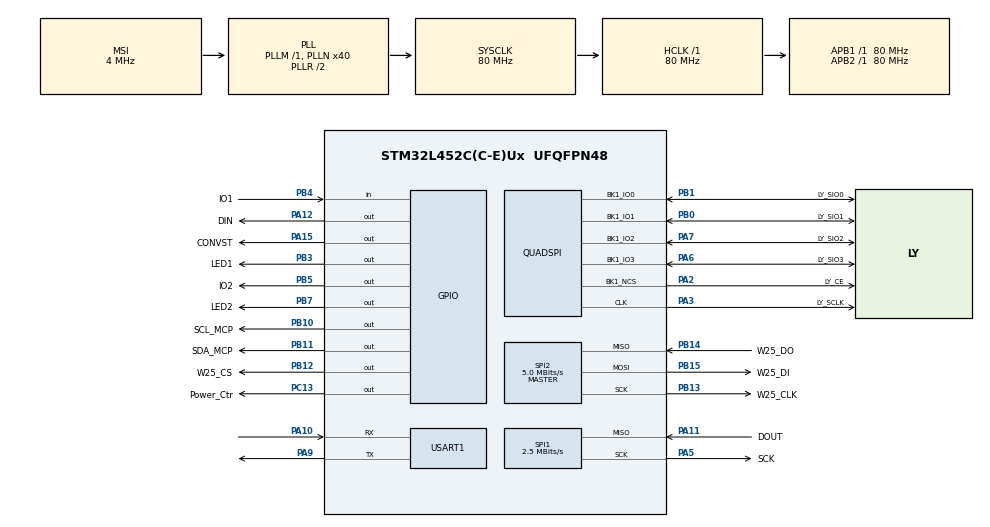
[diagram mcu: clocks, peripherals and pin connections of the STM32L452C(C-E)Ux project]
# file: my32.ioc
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Mcu.Family=STM32L4
Mcu.Name=STM32L452C(C-E)Ux
Mcu.Package=UFQFPN48
NVIC.PriorityGroup=NVIC_PRIORITYGROUP_4
NVIC.QUADSPI_IRQn=true\:0\:0\:false\:false\:true\:true\:true\:true
NVIC.TIM2_IRQn=true\:0\:0\:false\:false\:true\:true\:true\:true
NVIC.TIM3_IRQn=true\:0\:0\:false\:false\:true\:true\:true\:true
NVIC.USART1_IRQn=true\:0\:0\:false\:false\:true\:true\:true\:true
PA10.Mode=Asynchronous
PA10.Signal=USART1_RX
PA11.GPIO_Label=DOUT
PA11.GPIO_PuPd=GPIO_PULLUP
PA11.Mode=RX_Only_Simplex_Unidirect_Master
PA11.Signal=SPI1_MISO
PA12.GPIO_Label=DIN
PA12.GPIO_PuPd=GPIO_PULLUP
PA12.GPIO_Speed=GPIO_SPEED_FREQ_HIGH
PA12.Signal=GPIO_Output
PA15\ (JTDI).GPIO_Label=CONVST
PA15\ (JTDI).GPIO_PuPd=GPIO_PULLUP
PA15\ (JTDI).GPIO_Speed=GPIO_SPEED_FREQ_HIGH
PA15\ (JTDI).Signal=GPIO_Output
PA2.GPIO_Label=LY_CE
PA2.GPIO_Speed=GPIO_SPEED_FREQ_VERY_HIGH
PA2.Mode=Single Bank 1
PA2.Signal=QUADSPI_BK1_NCS
PA3.GPIO_Label=LY_SCLK
PA3.GPIO_Speed=GPIO_SPEED_FREQ_VERY_HIGH
PA3.Mode=Single Bank 1
PA3.Signal=QUADSPI_CLK
PA5.GPIO_Label=SCK
PA5.GPIO_PuPd=GPIO_PULLUP
PA5.Mode=RX_Only_Simplex_Unidirect_Master
PA5.Signal=SPI1_SCK
PA6.GPIO_Label=LY_SIO3
PA6.GPIO_Speed=GPIO_SPEED_FREQ_VERY_HIGH
PA6.Mode=Single Bank 1
PA6.Signal=QUADSPI_BK1_IO3
PA7.GPIO_Label=LY_SIO2
PA7.GPIO_Speed=GPIO_SPEED_FREQ_VERY_HIGH
PA7.Mode=Single Bank 1
PA7.Signal=QUADSPI_BK1_IO2
PA9.Mode=Asynchronous
PA9.Signal=USART1_TX
PB0.GPIO_Label=LY_SIO1
PB0.GPIO_Speed=GPIO_SPEED_FREQ_VERY_HIGH
PB0.Mode=Single Bank 1
PB0.Signal=QUADSPI_BK1_IO1
PB1.GPIO_Label=LY_SIO0
PB1.GPIO_Speed=GPIO_SPEED_FREQ_VERY_HIGH
PB1.Mode=Single Bank 1
PB1.Signal=QUADSPI_BK1_IO0
PB10.GPIO_Label=SCL_MCP
PB10.GPIO_PuPd=GPIO_PULLUP
PB10.GPIO_Speed=GPIO_SPEED_FREQ_HIGH
PB10.Signal=GPIO_Output
PB11.GPIO_Label=SDA_MCP
PB11.GPIO_PuPd=GPIO_PULLUP
PB11.GPIO_Speed=GPIO_SPEED_FREQ_HIGH
PB11.Signal=GPIO_Output
PB12.GPIO_Label=W25_CS
PB12.GPIO_PuPd=GPIO_PULLUP
PB12.GPIO_Speed=GPIO_SPEED_FREQ_HIGH
PB12.Signal=GPIO_Output
PB13.GPIO_Label=W25_CLK
PB13.Mode=Full_Duplex_Master
PB13.Signal=SPI2_SCK
PB14.GPIO_Label=W25_DO
PB14.Mode=Full_Duplex_Master
PB14.Signal=SPI2_MISO
PB15.GPIO_Label=W25_DI
PB15.Mode=Full_Duplex_Master
PB15.Signal=SPI2_MOSI
PB3\ (JTDO/TRACESWO).GPIO_Label=LED1
PB3\ (JTDO/TRACESWO).Signal=GPIO_Output
PB4\ (NJTRST).GPIO_Label=IO1
PB4\ (NJTRST).Signal=GPIO_Input
PB5.GPIO_Label=IO2
PB5.GPIO_Speed=GPIO_SPEED_FREQ_MEDIUM
PB5.Signal=GPIO_Output
PB7.GPIO_Label=LED2
PB7.Signal=GPIO_Output
PC13.GPIO_Label=Power_Ctr
PC13.Signal=GPIO_Output
ProjectManager.HeapSize=0x200
ProjectManager.StackSize=0x400
ProjectManager.TargetToolchain=MDK-ARM V5.32
QUADSPI.ChipSelectHighTime=QSPI_CS_HIGH_TIME_3_CYCLE
QUADSPI.ClockPrescaler=1
QUADSPI.FifoThreshold=4
QUADSPI.FlashSize=0x1f
QUADSPI.SampleShifting=QSPI_SAMPLE_SHIFTING_HALFCYCLE
RCC.ADCFreq_Value=16000000
RCC.AHBFreq_Value=80000000
RCC.APB1Freq_Value=80000000
RCC.APB1TimFreq_Value=80000000
RCC.APB2Freq_Value=80000000
RCC.APB2TimFreq_Value=80000000
RCC.CortexFreq_Value=80000000
RCC.HCLKFreq_Value=80000000
RCC.HSE_VALUE=8000000
RCC.HSI48_VALUE=48000000
RCC.HSI_VALUE=16000000
RCC.LSE_VALUE=32768
RCC.MSI_VALUE=4000000
RCC.PLLN=40
RCC.SYSCLKFreq_VALUE=80000000
RCC.SYSCLKSource=RCC_SYSCLKSOURCE_PLLCLK
RCC.USBFreq_Value=16000000
RCC.VCOOutputFreq_Value=160000000
SPI1.BaudRatePrescaler=SPI_BAUDRATEPRESCALER_32
SPI1.CalculateBaudRate=2.5 MBits/s
SPI1.DataSize=SPI_DATASIZE_8BIT
SPI1.Direction=SPI_DIRECTION_2LINES_RXONLY
SPI1.Mode=SPI_MODE_MASTER
SPI1.VirtualType=VM_MASTER
SPI2.BaudRatePrescaler=SPI_BAUDRATEPRESCALER_16
SPI2.CalculateBaudRate=5.0 MBits/s
SPI2.DataSize=SPI_DATASIZE_8BIT
SPI2.Direction=SPI_DIRECTION_2LINES
SPI2.Mode=SPI_MODE_MASTER
SPI2.NSSPMode=SPI_NSS_PULSE_DISABLE
SPI2.VirtualType=VM_MASTER
TIM2.AutoReloadPreload=TIM_AUTORELOAD_PRELOAD_ENABLE
TIM2.Period=7999
TIM2.Prescaler=0
TIM3.AutoReloadPreload=TIM_AUTORELOAD_PRELOAD_ENABLE
TIM3.Period=39999
USART1.VirtualMode-Asynchronous=VM_ASYNC
VP_TIM2_VS_ClockSourceINT.Mode=Internal
VP_TIM3_VS_ClockSourceINT.Mode=Internal
board=custom

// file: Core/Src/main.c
/* USER CODE BEGIN Header */
/**
  ******************************************************************************
  * @file           : main.c
  * @brief          : Main program body
  ******************************************************************************
  * @attention
  *
  * Copyright (c) 2024 STMicroelectronics.
  * All rights reserved.
  *
  * This software is licensed under terms that can be found in the LICENSE file
  * in the root directory of this software component.
  * If no LICENSE file comes with this software, it is provided AS-IS.
  *
  ******************************************************************************
  */
/* USER CODE END Header */
#include "main.h"

QSPI_HandleTypeDef hqspi;

SPI_HandleTypeDef hspi1;
SPI_HandleTypeDef hspi2;

TIM_HandleTypeDef htim2;
TIM_HandleTypeDef htim3;

UART_HandleTypeDef huart1;

/* USER CODE BEGIN PV */
uint8_t id2[8] = {0}; // 用于存储读取到的 JEDEC ID
uint8_t calistatus = 0;//采样状态
/* USER CODE END PV */

void SystemClock_Config(void);
static void MX_GPIO_Init(void);
static void MX_SPI1_Init(void);
static void MX_TIM2_Init(void);
static void MX_SPI2_Init(void);
static void MX_QUADSPI_Init(void);
static void MX_USART1_UART_Init(void);
static void MX_TIM3_Init(void);
/* USER CODE BEGIN PFP */
void Read_ADC_Sample(void);
/* USER CODE END PFP */

/* USER CODE BEGIN 0 */
extern uint32_t k;
extern uint8_t zerobuf[100000];
/* USER CODE END 0 */

int main(void)
{

  /* MCU Configuration--------------------------------------------------------*/

  /* Reset of all peripherals, Initializes the Flash interface and the Systick. */
  HAL_Init();

  /* Configure the system clock */
  SystemClock_Config();

  /* Initialize all configured peripherals */
  MX_GPIO_Init();
  MX_SPI1_Init();
  MX_TIM2_Init();
  MX_SPI2_Init();
  MX_QUADSPI_Init();
  MX_USART1_UART_Init();
  MX_TIM3_Init();
  /* USER CODE BEGIN 2 */
  //HAL_GPIO_WritePin(LED1_GPIO_Port, LED1_Pin, GPIO_PIN_SET); 	//红灯亮
  HAL_GPIO_WritePin(LED2_GPIO_Port, LED2_Pin, GPIO_PIN_SET); 	//蓝灯亮
  HAL_GPIO_WritePin(Power_Ctr_GPIO_Port, Power_Ctr_Pin, GPIO_PIN_SET); 	//电源开

  MCP4017_SetResistance(110);//1~127

  ads8867Init();

//  W25Qxx_Read_ID();
//  W25Qxx_Write_Read_Check(0*4096);//测试通过

//	QSPI_ReadID(&hqspi,id2);
//	LY68_Write_Read_Check();
	QSPI_WriteEnable(&hqspi);
	LY68L6400_EnableMemoryMappedMode();//地址映射

	calistatus = 1;//上电时没有采样

	HAL_TIM_Base_Start_IT(&htim3);//串口定时器
  /* USER CODE END 2 */

  /* Infinite loop */
  while (1)
  {

    /* USER CODE BEGIN 3 */
	  uart1cmddriver();//串口命令执行

  }
  /* USER CODE END 3 */
}

void SystemClock_Config(void)
{
  RCC_OscInitTypeDef RCC_OscInitStruct = {0};
  RCC_ClkInitTypeDef RCC_ClkInitStruct = {0};

  /** Configure the main internal regulator output voltage
  */
  if (HAL_PWREx_ControlVoltageScaling(PWR_REGULATOR_VOLTAGE_SCALE1) != HAL_OK)
  {
    Error_Handler();
  }

  /** Initializes the RCC Oscillators according to the specified parameters
  * in the RCC_OscInitTypeDef structure.
  */
  RCC_OscInitStruct.OscillatorType = RCC_OSCILLATORTYPE_MSI;
  RCC_OscInitStruct.MSIState = RCC_MSI_ON;
  RCC_OscInitStruct.MSICalibrationValue = 0;
  RCC_OscInitStruct.MSIClockRange = RCC_MSIRANGE_6;
  RCC_OscInitStruct.PLL.PLLState = RCC_PLL_ON;
  RCC_OscInitStruct.PLL.PLLSource = RCC_PLLSOURCE_MSI;
  RCC_OscInitStruct.PLL.PLLM = 1;
  RCC_OscInitStruct.PLL.PLLN = 40;
  RCC_OscInitStruct.PLL.PLLP = RCC_PLLP_DIV7;
  RCC_OscInitStruct.PLL.PLLQ = RCC_PLLQ_DIV2;
  RCC_OscInitStruct.PLL.PLLR = RCC_PLLR_DIV2;
  if (HAL_RCC_OscConfig(&RCC_OscInitStruct) != HAL_OK)
  {
    Error_Handler();
  }

  /** Initializes the CPU, AHB and APB buses clocks
  */
  RCC_ClkInitStruct.ClockType = RCC_CLOCKTYPE_HCLK|RCC_CLOCKTYPE_SYSCLK
                              |RCC_CLOCKTYPE_PCLK1|RCC_CLOCKTYPE_PCLK2;
  RCC_ClkInitStruct.SYSCLKSource = RCC_SYSCLKSOURCE_PLLCLK;
  RCC_ClkInitStruct.AHBCLKDivider = RCC_SYSCLK_DIV1;
  RCC_ClkInitStruct.APB1CLKDivider = RCC_HCLK_DIV1;
  RCC_ClkInitStruct.APB2CLKDivider = RCC_HCLK_DIV1;

  if (HAL_RCC_ClockConfig(&RCC_ClkInitStruct, FLASH_LATENCY_4) != HAL_OK)
  {
    Error_Handler();
  }
}

static void MX_QUADSPI_Init(void)
{

  /* QUADSPI parameter configuration*/
  hqspi.Instance = QUADSPI;
  hqspi.Init.ClockPrescaler = 1;
  hqspi.Init.FifoThreshold = 4;
  hqspi.Init.SampleShifting = QSPI_SAMPLE_SHIFTING_HALFCYCLE;
  hqspi.Init.FlashSize = 0x1f;
  hqspi.Init.ChipSelectHighTime = QSPI_CS_HIGH_TIME_3_CYCLE;
  hqspi.Init.ClockMode = QSPI_CLOCK_MODE_0;
  hqspi.Init.FlashID = QSPI_FLASH_ID_1;
  hqspi.Init.DualFlash = QSPI_DUALFLASH_DISABLE;
  if (HAL_QSPI_Init(&hqspi) != HAL_OK)
  {
    Error_Handler();
  }

}

static void MX_SPI1_Init(void)
{

  /* SPI1 parameter configuration*/
  hspi1.Instance = SPI1;
  hspi1.Init.Mode = SPI_MODE_MASTER;
  hspi1.Init.Direction = SPI_DIRECTION_2LINES_RXONLY;
  hspi1.Init.DataSize = SPI_DATASIZE_8BIT;
  hspi1.Init.CLKPolarity = SPI_POLARITY_LOW;
  hspi1.Init.CLKPhase = SPI_PHASE_1EDGE;
  hspi1.Init.NSS = SPI_NSS_SOFT;
  hspi1.Init.BaudRatePrescaler = SPI_BAUDRATEPRESCALER_32;
  hspi1.Init.FirstBit = SPI_FIRSTBIT_MSB;
  hspi1.Init.TIMode = SPI_TIMODE_DISABLE;
  hspi1.Init.CRCCalculation = SPI_CRCCALCULATION_DISABLE;
  hspi1.Init.CRCPolynomial = 7;
  hspi1.Init.CRCLength = SPI_CRC_LENGTH_DATASIZE;
  hspi1.Init.NSSPMode = SPI_NSS_PULSE_ENABLE;
  if (HAL_SPI_Init(&hspi1) != HAL_OK)
  {
    Error_Handler();
  }

}

static void MX_SPI2_Init(void)
{

  /* SPI2 parameter configuration*/
  hspi2.Instance = SPI2;
  hspi2.Init.Mode = SPI_MODE_MASTER;
  hspi2.Init.Direction = SPI_DIRECTION_2LINES;
  hspi2.Init.DataSize = SPI_DATASIZE_8BIT;
  hspi2.Init.CLKPolarity = SPI_POLARITY_LOW;
  hspi2.Init.CLKPhase = SPI_PHASE_1EDGE;
  hspi2.Init.NSS = SPI_NSS_SOFT;
  hspi2.Init.BaudRatePrescaler = SPI_BAUDRATEPRESCALER_16;
  hspi2.Init.FirstBit = SPI_FIRSTBIT_MSB;
  hspi2.Init.TIMode = SPI_TIMODE_DISABLE;
  hspi2.Init.CRCCalculation = SPI_CRCCALCULATION_DISABLE;
  hspi2.Init.CRCPolynomial = 7;
  hspi2.Init.CRCLength = SPI_CRC_LENGTH_DATASIZE;
  hspi2.Init.NSSPMode = SPI_NSS_PULSE_DISABLE;
  if (HAL_SPI_Init(&hspi2) != HAL_OK)
  {
    Error_Handler();
  }

}

static void MX_TIM2_Init(void)
{

  TIM_ClockConfigTypeDef sClockSourceConfig = {0};
  TIM_MasterConfigTypeDef sMasterConfig = {0};

  htim2.Instance = TIM2;
  htim2.Init.Prescaler = 1;
  htim2.Init.CounterMode = TIM_COUNTERMODE_UP;
  // 40 MHz
  htim2.Init.Period = 39999; // 1 ms  1 KHZ  一个mpu6050样本12字节，8 MB 能存 666,666 个样本。大概最多能存 10 多分钟的。但是这里指定 每次 采集 20 w 个样本，大概 200s
  htim2.Init.ClockDivision = TIM_CLOCKDIVISION_DIV1;
  htim2.Init.AutoReloadPreload = TIM_AUTORELOAD_PRELOAD_ENABLE;
  if (HAL_TIM_Base_Init(&htim2) != HAL_OK)
  {
    Error_Handler();
  }
  sClockSourceConfig.ClockSource = TIM_CLOCKSOURCE_INTERNAL;
  if (HAL_TIM_ConfigClockSource(&htim2, &sClockSourceConfig) != HAL_OK)
  {
    Error_Handler();
  }
  sMasterConfig.MasterOutputTrigger = TIM_TRGO_RESET;
  sMasterConfig.MasterSlaveMode = TIM_MASTERSLAVEMODE_DISABLE;
  if (HAL_TIMEx_MasterConfigSynchronization(&htim2, &sMasterConfig) != HAL_OK)
  {
    Error_Handler();
  }

}

static void MX_TIM3_Init(void)
{

  TIM_ClockConfigTypeDef sClockSourceConfig = {0};
  TIM_MasterConfigTypeDef sMasterConfig = {0};

  htim3.Instance = TIM3;
  htim3.Init.Prescaler = 0;
  htim3.Init.CounterMode = TIM_COUNTERMODE_UP;
  htim3.Init.Period = 39999;  // 1 ms  1 KHZ
  htim3.Init.ClockDivision = TIM_CLOCKDIVISION_DIV1;
  htim3.Init.AutoReloadPreload = TIM_AUTORELOAD_PRELOAD_ENABLE;
  if (HAL_TIM_Base_Init(&htim3) != HAL_OK)
  {
    Error_Handler();
  }
  sClockSourceConfig.ClockSource = TIM_CLOCKSOURCE_INTERNAL;
  if (HAL_TIM_ConfigClockSource(&htim3, &sClockSourceConfig) != HAL_OK)
  {
    Error_Handler();
  }
  sMasterConfig.MasterOutputTrigger = TIM_TRGO_RESET;
  sMasterConfig.MasterSlaveMode = TIM_MASTERSLAVEMODE_DISABLE;
  if (HAL_TIMEx_MasterConfigSynchronization(&htim3, &sMasterConfig) != HAL_OK)
  {
    Error_Handler();
  }

}

static void MX_USART1_UART_Init(void)
{

  huart1.Instance = USART1;
  huart1.Init.BaudRate = 115200;
  huart1.Init.WordLength = UART_WORDLENGTH_8B;
  huart1.Init.StopBits = UART_STOPBITS_1;
  huart1.Init.Parity = UART_PARITY_NONE;
  huart1.Init.Mode = UART_MODE_TX_RX;
  huart1.Init.HwFlowCtl = UART_HWCONTROL_NONE;
  huart1.Init.OverSampling = UART_OVERSAMPLING_16;
  huart1.Init.OneBitSampling = UART_ONE_BIT_SAMPLE_DISABLE;
  huart1.AdvancedInit.AdvFeatureInit = UART_ADVFEATURE_NO_INIT;
  if (HAL_UART_Init(&huart1) != HAL_OK)
  {
    Error_Handler();
  }
  /* USER CODE BEGIN USART1_Init 2 */
  __HAL_UART_ENABLE_IT(&huart1, UART_IT_RXNE); //开启接收中断
  /* USER CODE END USART1_Init 2 */

}

static void MX_GPIO_Init(void)
{
  GPIO_InitTypeDef GPIO_InitStruct = {0};

  /* GPIO Ports Clock Enable */
  __HAL_RCC_GPIOC_CLK_ENABLE();
  __HAL_RCC_GPIOA_CLK_ENABLE();
  __HAL_RCC_GPIOB_CLK_ENABLE();

  /*Configure GPIO pin Output Level */
  HAL_GPIO_WritePin(Power_Ctr_GPIO_Port, Power_Ctr_Pin, GPIO_PIN_RESET);

  /*Configure GPIO pin Output Level */
  HAL_GPIO_WritePin(GPIOB, SCL_MCP_Pin|SDA_MCP_Pin|W25_CS_Pin|LED1_Pin
                          |IO2_Pin|LED2_Pin, GPIO_PIN_RESET);

  /*Configure GPIO pin Output Level */
  HAL_GPIO_WritePin(GPIOA, DIN_Pin|CONVST_Pin, GPIO_PIN_RESET);

  /*Configure GPIO pin : Power_Ctr_Pin */
  GPIO_InitStruct.Pin = Power_Ctr_Pin;
  GPIO_InitStruct.Mode = GPIO_MODE_OUTPUT_PP;
  GPIO_InitStruct.Pull = GPIO_NOPULL;
  GPIO_InitStruct.Speed = GPIO_SPEED_FREQ_LOW;
  HAL_GPIO_Init(Power_Ctr_GPIO_Port, &GPIO_InitStruct);

  /*Configure GPIO pins : SCL_MCP_Pin SDA_MCP_Pin W25_CS_Pin */
  GPIO_InitStruct.Pin = SCL_MCP_Pin|SDA_MCP_Pin|W25_CS_Pin;
  GPIO_InitStruct.Mode = GPIO_MODE_OUTPUT_PP;
  GPIO_InitStruct.Pull = GPIO_PULLUP;
  GPIO_InitStruct.Speed = GPIO_SPEED_FREQ_HIGH;
  HAL_GPIO_Init(GPIOB, &GPIO_InitStruct);

  /*Configure GPIO pins : DIN_Pin CONVST_Pin */
  GPIO_InitStruct.Pin = DIN_Pin|CONVST_Pin;
  GPIO_InitStruct.Mode = GPIO_MODE_OUTPUT_PP;
  GPIO_InitStruct.Pull = GPIO_PULLUP;
  GPIO_InitStruct.Speed = GPIO_SPEED_FREQ_HIGH;
  HAL_GPIO_Init(GPIOA, &GPIO_InitStruct);

  /*Configure GPIO pins : LED1_Pin LED2_Pin */
  GPIO_InitStruct.Pin = LED1_Pin|LED2_Pin;
  GPIO_InitStruct.Mode = GPIO_MODE_OUTPUT_PP;
  GPIO_InitStruct.Pull = GPIO_NOPULL;
  GPIO_InitStruct.Speed = GPIO_SPEED_FREQ_LOW;
  HAL_GPIO_Init(GPIOB, &GPIO_InitStruct);

  /*Configure GPIO pin : IO1_Pin */
  GPIO_InitStruct.Pin = IO1_Pin;
  GPIO_InitStruct.Mode = GPIO_MODE_INPUT;
  GPIO_InitStruct.Pull = GPIO_NOPULL;
  HAL_GPIO_Init(IO1_GPIO_Port, &GPIO_InitStruct);

  /*Configure GPIO pin : IO2_Pin */
  GPIO_InitStruct.Pin = IO2_Pin;
  GPIO_InitStruct.Mode = GPIO_MODE_OUTPUT_PP;
  GPIO_InitStruct.Pull = GPIO_NOPULL;
  GPIO_InitStruct.Speed = GPIO_SPEED_FREQ_MEDIUM;
  HAL_GPIO_Init(IO2_GPIO_Port, &GPIO_InitStruct);

}

void Error_Handler(void)
{
  __disable_irq();
  while (1)
  {
  }
}
